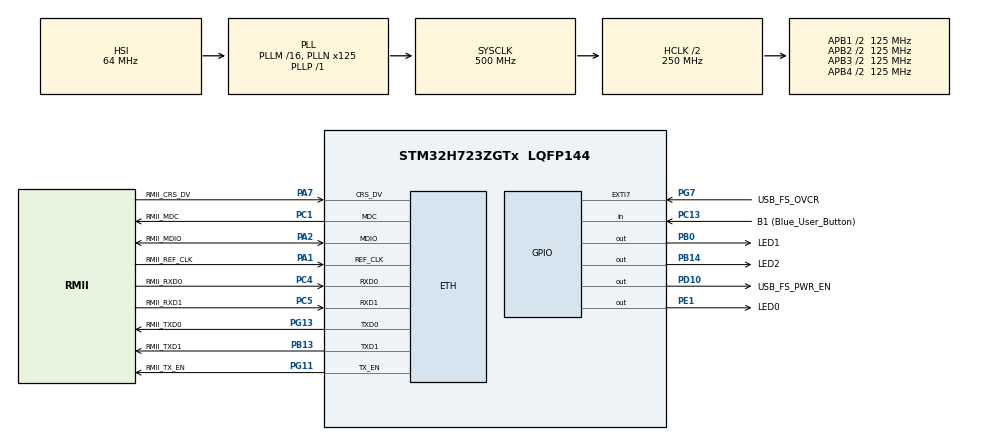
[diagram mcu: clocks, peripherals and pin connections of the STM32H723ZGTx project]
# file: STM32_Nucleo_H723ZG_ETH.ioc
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CORTEX_M7.AccessPermission_S-Cortex_Memory_Protection_Unit_Region1_Settings_S=MPU_REGION_FULL_ACCESS
CORTEX_M7.AccessPermission_S-Cortex_Memory_Protection_Unit_Region2_Settings_S=MPU_REGION_FULL_ACCESS
CORTEX_M7.BaseAddress_S-Cortex_Memory_Protection_Unit_Region1_Settings_S=0x30000000
CORTEX_M7.BaseAddress_S-Cortex_Memory_Protection_Unit_Region2_Settings_S=0x30000000
CORTEX_M7.CPU_DCache=Enabled
CORTEX_M7.CPU_ICache=Enabled
CORTEX_M7.DisableExec_S-Cortex_Memory_Protection_Unit_Region1_Settings_S=MPU_INSTRUCTION_ACCESS_DISABLE
CORTEX_M7.DisableExec_S-Cortex_Memory_Protection_Unit_Region2_Settings_S=MPU_INSTRUCTION_ACCESS_DISABLE
CORTEX_M7.Enable_S-Cortex_Memory_Protection_Unit_Region1_Settings_S=MPU_REGION_ENABLE
CORTEX_M7.Enable_S-Cortex_Memory_Protection_Unit_Region2_Settings_S=MPU_REGION_ENABLE
CORTEX_M7.IsBufferable_S-Cortex_Memory_Protection_Unit_Region2_Settings_S=MPU_ACCESS_BUFFERABLE
CORTEX_M7.IsShareable_S-Cortex_Memory_Protection_Unit_Region2_Settings_S=MPU_ACCESS_SHAREABLE
CORTEX_M7.Size_S-Cortex_Memory_Protection_Unit_Region1_Settings_S=MPU_REGION_SIZE_32KB
CORTEX_M7.Size_S-Cortex_Memory_Protection_Unit_Region2_Settings_S=MPU_REGION_SIZE_512B
CORTEX_M7.TypeExtField_S-Cortex_Memory_Protection_Unit_Region1_Settings_S=MPU_TEX_LEVEL1
CORTEX_M7.default_mode_Activation=1
ETH.MediaInterface=HAL_ETH_RMII_MODE
ETH.RxBuffAddress=0x30000200
ETH.RxBuffLen=1536
ETH.TxDescAddress=0x30000100
FREERTOS.HEAP_NUMBER=4
FREERTOS.Tasks01=tcpTask,1,512,StartTCPTask,Default,NULL,Dynamic,NULL,NULL;HeartbeatTask,-1,256,StartHeartbeatTask,Default,NULL,Dynamic,NULL,NULL;rxMessages,-3,256,StartRXMessages,Default,NULL,Dynamic,NULL,NULL
FREERTOS.configMAX_PRIORITIES=16
FREERTOS.configTOTAL_HEAP_SIZE=25600
FREERTOS.configUSE_COUNTING_SEMAPHORES=1
FREERTOS.configUSE_NEWLIB_REENTRANT=1
LWIP.BSP.number=1
LWIP.IP_ADDRESS=192.168.050.010
LWIP.LWIP_DHCP=0
LWIP.LWIP_RAM_HEAP_POINTER=0x30000200
LWIP.MEM_SIZE=32232
LWIP.NETMASK_ADDRESS=255.255.255.000
LWIP.PBUF_POOL_BUFSIZE=592
LWIP.Version=v2.1.2_Cube
LWIP0.BSP.STBoard=false
LWIP0.BSP.api=BSP_COMPONENT_DRIVER
LWIP0.BSP.component=LAN8742
LWIP0.BSP.instance=LAN8742
LWIP0.BSP.name=Driver_PHY
LWIP0.BSP.semaphore=S_LAN8742
LWIP0.BSP.solution=LAN8742
Mcu.Family=STM32H7
Mcu.Name=STM32H723ZGTx
Mcu.Package=LQFP144
NVIC.ETH_IRQn=true\:5\:0\:false\:false\:true\:true\:true\:true\:true
NVIC.PriorityGroup=NVIC_PRIORITYGROUP_4
NVIC.TIM6_DAC_IRQn=true\:15\:0\:false\:false\:true\:false\:false\:true\:true
NVIC.TimeBase=TIM6_DAC_IRQn
NVIC.TimeBaseIP=TIM6
PA1.GPIO_Label=RMII_REF_CLK
PA1.GPIO_Speed=GPIO_SPEED_FREQ_VERY_HIGH
PA1.Mode=RMII
PA1.Signal=ETH_REF_CLK
PA10.GPIO_Label=USB_FS_ID
PA10.Signal=USB_OTG_HS_ID
PA13(JTMS/SWDIO).GPIO_Label=SWDIO
PA13(JTMS/SWDIO).Signal=DEBUG_JTMS-SWDIO
PA14(JTCK/SWCLK).GPIO_Label=SWCLK
PA14(JTCK/SWCLK).Signal=DEBUG_JTCK-SWCLK
PA2.GPIO_Label=RMII_MDIO
PA2.GPIO_Speed=GPIO_SPEED_FREQ_VERY_HIGH
PA2.Mode=RMII
PA2.Signal=ETH_MDIO
PA7.GPIO_Label=RMII_CRS_DV
PA7.GPIO_Speed=GPIO_SPEED_FREQ_VERY_HIGH
PA7.Mode=RMII
PA7.Signal=ETH_CRS_DV
PA9.GPIO_Label=USB_FS_VBUS
PA9.Signal=USB_OTG_HS_VBUS
PB0.GPIO_Label=LED1
PB0.Signal=GPIO_Output
PB13.GPIO_Label=RMII_TXD1
PB13.GPIO_Speed=GPIO_SPEED_FREQ_VERY_HIGH
PB13.Mode=RMII
PB13.Signal=ETH_TXD1
PB14.GPIO_Label=LED2
PB14.Signal=GPIO_Output
PB3(JTDO/TRACESWO).GPIO_Label=SWO
PB3(JTDO/TRACESWO).Signal=DEBUG_JTDO-SWO
PC1.GPIO_Label=RMII_MDC
PC1.GPIO_Speed=GPIO_SPEED_FREQ_VERY_HIGH
PC1.Mode=RMII
PC1.Signal=ETH_MDC
PC13.GPIO_Label=B1 (Blue_User_Button)
PC13.Signal=GPIO_Input
PC14-OSC32_IN.Signal=RCC_OSC32_IN
PC15-OSC32_OUT.Signal=RCC_OSC32_OUT
PC4.GPIO_Label=RMII_RXD0
PC4.GPIO_Speed=GPIO_SPEED_FREQ_VERY_HIGH
PC4.Mode=RMII
PC4.Signal=ETH_RXD0
PC5.GPIO_Label=RMII_RXD1
PC5.GPIO_Speed=GPIO_SPEED_FREQ_VERY_HIGH
PC5.Mode=RMII
PC5.Signal=ETH_RXD1
PD10.GPIO_Label=USB_FS_PWR_EN
PD10.Signal=GPIO_Output
PD8.GPIO_Label=STLK_VCP_RX
PD8.Signal=USART3_TX
PD9.GPIO_Label=STLK_VCP_TX
PD9.Signal=USART3_RX
PE1.GPIO_Label=LED0
PE1.Signal=GPIO_Output
PG11.GPIO_Label=RMII_TX_EN
PG11.GPIO_Speed=GPIO_SPEED_FREQ_VERY_HIGH
PG11.Mode=RMII
PG11.Signal=ETH_TX_EN
PG13.GPIO_Label=RMII_TXD0
PG13.GPIO_Speed=GPIO_SPEED_FREQ_VERY_HIGH
PG13.Mode=RMII
PG13.Signal=ETH_TXD0
PG7.GPIO_Label=USB_FS_OVCR
PG7.Signal=GPXTI7
PH0-OSC_IN.GPIO_Label=MCO
PH0-OSC_IN.Signal=RCC_OSC_IN
PH1-OSC_OUT.Signal=RCC_OSC_OUT
ProjectManager.HeapSize=0x200
ProjectManager.StackSize=0x400
ProjectManager.TargetToolchain=STM32CubeIDE
RCC.ADCFreq_Value=608000000
RCC.APB1Freq_Value=125000000
RCC.APB2Freq_Value=125000000
RCC.APB3Freq_Value=125000000
RCC.APB4Freq_Value=125000000
RCC.CortexFreq_Value=500000000
RCC.D1PPRE=RCC_APB3_DIV2
RCC.D2PPRE1=RCC_APB1_DIV2
RCC.D2PPRE2=RCC_APB2_DIV2
RCC.D3PPRE=RCC_APB4_DIV2
RCC.DIVM1=16
RCC.DIVM2=1
RCC.DIVN1=125
RCC.DIVN2=19
RCC.DIVP1=1
RCC.DIVQ1=4
RCC.HCLKFreq_Value=250000000
RCC.HPRE=RCC_HCLK_DIV2
RCC.HSE_VALUE=8000000
RCC.PLLFRACN=0
RCC.SYSCLKFreq_VALUE=500000000
RCC.SYSCLKSource=RCC_SYSCLKSOURCE_PLLCLK
RCC.USBCLockSelection=RCC_USBCLKSOURCE_HSI48
RCC.USBFreq_Value=48000000
VP_FREERTOS_VS_CMSIS_V1.Mode=CMSIS_V1
VP_LWIP_VS_Enabled.Mode=Enabled
VP_RTC_VS_RTC_Activate.Mode=RTC_Enabled
VP_SYS_VS_tim6.Mode=TIM6
board=NUCLEO-H723ZG

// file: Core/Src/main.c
/* USER CODE BEGIN Header */
/**
  ******************************************************************************
  * @file           : main.c
  * @brief          : Main program body
  ******************************************************************************
  * @attention
  *
  * Copyright (c) 2022 STMicroelectronics.
  * All rights reserved.
  *
  * This software is licensed under terms that can be found in the LICENSE file
  * in the root directory of this software component.
  * If no LICENSE file comes with this software, it is provided AS-IS.
  *
  ******************************************************************************
  */
/* USER CODE END Header */
#include "main.h"
#include "cmsis_os.h"
#include "lwip.h"

/* USER CODE BEGIN Includes */
/* ETH_CODE: add lwiperf, see comment in StartDefaultTask function */
#include "lwip/apps/lwiperf.h"
#include "C:\Users\Jack\Projects\MASA\dev-drivers\Rocket-Avionics\drivers\tcp\inc\tcpserver.h"
#include "C:\Users\Jack\Projects\MASA\dev-drivers\Rocket-Avionics\drivers\tcp\inc\tsqueue.h"
#include "C:\Users\Jack\Projects\MASA\dev-drivers\Rocket-Avionics\drivers\tcp\inc\tcppacket.h"
/* USER CODE END Includes */

RTC_HandleTypeDef hrtc;

osThreadId tcpTaskHandle;
osThreadId HeartbeatTaskHandle;
osThreadId rxMessagesHandle;

void SystemClock_Config(void);
static void MPU_Initialize(void);
static void MPU_Config(void);
static void MX_GPIO_Init(void);
static void MX_RTC_Init(void);
void StartTCPTask(void const * argument);
void StartHeartbeatTask(void const * argument);
void StartRXMessages(void const * argument);

int main(void)
{

  /* Enable I-Cache---------------------------------------------------------*/
  SCB_EnableICache();

  /* Enable D-Cache---------------------------------------------------------*/
  SCB_EnableDCache();

  /* MCU Configuration--------------------------------------------------------*/

  /* Reset of all peripherals, Initializes the Flash interface and the Systick. */
  HAL_Init();

  /* MPU Configuration--------------------------------------------------------*/
  MPU_Config();

  /* Configure the system clock */
  SystemClock_Config();

  /* Initialize all configured peripherals */
  MX_GPIO_Init();
  MX_RTC_Init();

  /* Create the thread(s) */
  /* definition and creation of tcpTask */
  osThreadDef(tcpTask, StartTCPTask, osPriorityAboveNormal, 0, 512);
  tcpTaskHandle = osThreadCreate(osThread(tcpTask), NULL);

  /* definition and creation of HeartbeatTask */
  osThreadDef(HeartbeatTask, StartHeartbeatTask, osPriorityBelowNormal, 0, 256);
  HeartbeatTaskHandle = osThreadCreate(osThread(HeartbeatTask), NULL);

  /* definition and creation of rxMessages */
  osThreadDef(rxMessages, StartRXMessages, osPriorityIdle, 0, 256);
  rxMessagesHandle = osThreadCreate(osThread(rxMessages), NULL);

  /* Start scheduler */
  osKernelStart();

  /* We should never get here as control is now taken by the scheduler */
  /* Infinite loop */
  while (1)
  {

  }
}

void SystemClock_Config(void)
{
  RCC_OscInitTypeDef RCC_OscInitStruct = {0};
  RCC_ClkInitTypeDef RCC_ClkInitStruct = {0};

  /** Supply configuration update enable
  */
  HAL_PWREx_ConfigSupply(PWR_LDO_SUPPLY);

  /** Configure the main internal regulator output voltage
  */
  __HAL_PWR_VOLTAGESCALING_CONFIG(PWR_REGULATOR_VOLTAGE_SCALE0);

  while(!__HAL_PWR_GET_FLAG(PWR_FLAG_VOSRDY)) {}

  /** Initializes the RCC Oscillators according to the specified parameters
  * in the RCC_OscInitTypeDef structure.
  */
  RCC_OscInitStruct.OscillatorType = RCC_OSCILLATORTYPE_HSI|RCC_OSCILLATORTYPE_LSI;
  RCC_OscInitStruct.HSIState = RCC_HSI_DIV1;
  RCC_OscInitStruct.HSICalibrationValue = 64;
  RCC_OscInitStruct.LSIState = RCC_LSI_ON;
  RCC_OscInitStruct.PLL.PLLState = RCC_PLL_ON;
  RCC_OscInitStruct.PLL.PLLSource = RCC_PLLSOURCE_HSI;
  RCC_OscInitStruct.PLL.PLLM = 16;
  RCC_OscInitStruct.PLL.PLLN = 125;
  RCC_OscInitStruct.PLL.PLLP = 1;
  RCC_OscInitStruct.PLL.PLLQ = 4;
  RCC_OscInitStruct.PLL.PLLR = 2;
  RCC_OscInitStruct.PLL.PLLRGE = RCC_PLL1VCIRANGE_2;
  RCC_OscInitStruct.PLL.PLLVCOSEL = RCC_PLL1VCOWIDE;
  RCC_OscInitStruct.PLL.PLLFRACN = 0;
  if (HAL_RCC_OscConfig(&RCC_OscInitStruct) != HAL_OK)
  {
    Error_Handler();
  }

  /** Initializes the CPU, AHB and APB buses clocks
  */
  RCC_ClkInitStruct.ClockType = RCC_CLOCKTYPE_HCLK|RCC_CLOCKTYPE_SYSCLK
                              |RCC_CLOCKTYPE_PCLK1|RCC_CLOCKTYPE_PCLK2
                              |RCC_CLOCKTYPE_D3PCLK1|RCC_CLOCKTYPE_D1PCLK1;
  RCC_ClkInitStruct.SYSCLKSource = RCC_SYSCLKSOURCE_PLLCLK;
  RCC_ClkInitStruct.SYSCLKDivider = RCC_SYSCLK_DIV1;
  RCC_ClkInitStruct.AHBCLKDivider = RCC_HCLK_DIV2;
  RCC_ClkInitStruct.APB3CLKDivider = RCC_APB3_DIV2;
  RCC_ClkInitStruct.APB1CLKDivider = RCC_APB1_DIV2;
  RCC_ClkInitStruct.APB2CLKDivider = RCC_APB2_DIV2;
  RCC_ClkInitStruct.APB4CLKDivider = RCC_APB4_DIV2;

  if (HAL_RCC_ClockConfig(&RCC_ClkInitStruct, FLASH_LATENCY_3) != HAL_OK)
  {
    Error_Handler();
  }
}

static void MX_RTC_Init(void)
{

  /** Initialize RTC Only
  */
  hrtc.Instance = RTC;
  hrtc.Init.HourFormat = RTC_HOURFORMAT_24;
  hrtc.Init.AsynchPrediv = 127;
  hrtc.Init.SynchPrediv = 255;
  hrtc.Init.OutPut = RTC_OUTPUT_DISABLE;
  hrtc.Init.OutPutPolarity = RTC_OUTPUT_POLARITY_HIGH;
  hrtc.Init.OutPutType = RTC_OUTPUT_TYPE_OPENDRAIN;
  hrtc.Init.OutPutRemap = RTC_OUTPUT_REMAP_NONE;
  if (HAL_RTC_Init(&hrtc) != HAL_OK)
  {
    Error_Handler();
  }

}

static void MX_GPIO_Init(void)
{
  GPIO_InitTypeDef GPIO_InitStruct = {0};

  /* GPIO Ports Clock Enable */
  __HAL_RCC_GPIOC_CLK_ENABLE();
  __HAL_RCC_GPIOH_CLK_ENABLE();
  __HAL_RCC_GPIOA_CLK_ENABLE();
  __HAL_RCC_GPIOB_CLK_ENABLE();
  __HAL_RCC_GPIOD_CLK_ENABLE();
  __HAL_RCC_GPIOG_CLK_ENABLE();
  __HAL_RCC_GPIOE_CLK_ENABLE();

  /*Configure GPIO pin Output Level */
  HAL_GPIO_WritePin(GPIOB, LED1_Pin|LED2_Pin, GPIO_PIN_RESET);

  /*Configure GPIO pin Output Level */
  HAL_GPIO_WritePin(USB_FS_PWR_EN_GPIO_Port, USB_FS_PWR_EN_Pin, GPIO_PIN_RESET);

  /*Configure GPIO pin Output Level */
  HAL_GPIO_WritePin(LED0_GPIO_Port, LED0_Pin, GPIO_PIN_RESET);

  /*Configure GPIO pin : B1_Pin */
  GPIO_InitStruct.Pin = B1_Pin;
  GPIO_InitStruct.Mode = GPIO_MODE_INPUT;
  GPIO_InitStruct.Pull = GPIO_NOPULL;
  HAL_GPIO_Init(B1_GPIO_Port, &GPIO_InitStruct);

  /*Configure GPIO pins : LED1_Pin LED2_Pin */
  GPIO_InitStruct.Pin = LED1_Pin|LED2_Pin;
  GPIO_InitStruct.Mode = GPIO_MODE_OUTPUT_PP;
  GPIO_InitStruct.Pull = GPIO_NOPULL;
  GPIO_InitStruct.Speed = GPIO_SPEED_FREQ_LOW;
  HAL_GPIO_Init(GPIOB, &GPIO_InitStruct);

  /*Configure GPIO pins : STLK_VCP_RX_Pin STLK_VCP_TX_Pin */
  GPIO_InitStruct.Pin = STLK_VCP_RX_Pin|STLK_VCP_TX_Pin;
  GPIO_InitStruct.Mode = GPIO_MODE_AF_PP;
  GPIO_InitStruct.Pull = GPIO_NOPULL;
  GPIO_InitStruct.Speed = GPIO_SPEED_FREQ_LOW;
  GPIO_InitStruct.Alternate = GPIO_AF7_USART3;
  HAL_GPIO_Init(GPIOD, &GPIO_InitStruct);

  /*Configure GPIO pin : USB_FS_PWR_EN_Pin */
  GPIO_InitStruct.Pin = USB_FS_PWR_EN_Pin;
  GPIO_InitStruct.Mode = GPIO_MODE_OUTPUT_PP;
  GPIO_InitStruct.Pull = GPIO_NOPULL;
  GPIO_InitStruct.Speed = GPIO_SPEED_FREQ_LOW;
  HAL_GPIO_Init(USB_FS_PWR_EN_GPIO_Port, &GPIO_InitStruct);

  /*Configure GPIO pin : USB_FS_OVCR_Pin */
  GPIO_InitStruct.Pin = USB_FS_OVCR_Pin;
  GPIO_InitStruct.Mode = GPIO_MODE_IT_RISING;
  GPIO_InitStruct.Pull = GPIO_NOPULL;
  HAL_GPIO_Init(USB_FS_OVCR_GPIO_Port, &GPIO_InitStruct);

  /*Configure GPIO pin : USB_FS_ID_Pin */
  GPIO_InitStruct.Pin = USB_FS_ID_Pin;
  GPIO_InitStruct.Mode = GPIO_MODE_AF_PP;
  GPIO_InitStruct.Pull = GPIO_NOPULL;
  GPIO_InitStruct.Speed = GPIO_SPEED_FREQ_LOW;
  GPIO_InitStruct.Alternate = GPIO_AF10_OTG1_HS;
  HAL_GPIO_Init(USB_FS_ID_GPIO_Port, &GPIO_InitStruct);

  /*Configure GPIO pin : LED0_Pin */
  GPIO_InitStruct.Pin = LED0_Pin;
  GPIO_InitStruct.Mode = GPIO_MODE_OUTPUT_PP;
  GPIO_InitStruct.Pull = GPIO_NOPULL;
  GPIO_InitStruct.Speed = GPIO_SPEED_FREQ_LOW;
  HAL_GPIO_Init(LED0_GPIO_Port, &GPIO_InitStruct);

}

/* USER CODE BEGIN 4 */
void fsm_transition(int transition) {
	// use your imagination
};

void sw_reset(void) {

};

void set_bootloader(void) {

};

void get_git_hash(void) {

};

void valve_control(uint32_t valve, uint32_t state) {
	HAL_GPIO_TogglePin(LED2_GPIO_Port, LED2_Pin);
	// doing this for debug
};

void config_calibration(uint64_t* calibration_data) {

};
/* USER CODE END 4 */

void StartTCPTask(void const * argument)
{
  /* init code for LWIP */
  MX_LWIP_Init();
  /* USER CODE BEGIN 5 */

  server_init();
	for (;;) {
		osDelay(1);
	}

  /* USER CODE END 5 */
}

void StartHeartbeatTask(void const * argument)
{
  /* USER CODE BEGIN StartHeartbeatTask */
  // Infinite loop

  for(;;)
  {
	  // Heartbeat LED0
	  HAL_GPIO_TogglePin(LED0_GPIO_Port, LED0_Pin);

	  char* msg = malloc(12);
	  memcpy(msg, "heartbeat\r\n", 12);

	  server_sendMsg(ALL_CONNECTIONS,  msg, 12);

	  osDelay(500);

  }

  /* USER CODE END StartHeartbeatTask */
}

void StartRXMessages(void const * argument)
{
  /* USER CODE BEGIN StartRXMessages */
	char buf[MAX_MSG_LEN];
  // Infinite loop
  for(;;)
  {
	struct message msg = {-1, buf, MAX_MSG_LEN};
	server_retrieveMsg(&msg);
	// Ideally, server_retrieveMsg should give a packet type and a separate connection fd but that's a massive can of worms
	// Instead we're going to make a packet type from a different packet type so it works with my code :)
	struct packet rx_packet;
	struct packet tx_packet;

	rx_packet.packet = msg.buf;
	rx_packet.packet_len = msg.len;
	rx_tcppacket_parse(&rx_packet, &tx_packet);

	/*
	if (tx_packet.len > 0) {
		server_sendMsg(msg.connfd, tx_packet.packet, tx_packet.len);
	}
	*/
	osDelay(1);
  }

  /* USER CODE END StartRXMessages */
}

/* MPU Configuration */

void MPU_Config(void)
{
  MPU_Region_InitTypeDef MPU_InitStruct = {0};

  /* Disables the MPU */
  HAL_MPU_Disable();

  /** Initializes and configures the Region and the memory to be protected
  */
  MPU_InitStruct.Enable = MPU_REGION_ENABLE;
  MPU_InitStruct.Number = MPU_REGION_NUMBER0;
  MPU_InitStruct.BaseAddress = 0x0;
  MPU_InitStruct.Size = MPU_REGION_SIZE_4GB;
  MPU_InitStruct.SubRegionDisable = 0x87;
  MPU_InitStruct.TypeExtField = MPU_TEX_LEVEL0;
  MPU_InitStruct.AccessPermission = MPU_REGION_NO_ACCESS;
  MPU_InitStruct.DisableExec = MPU_INSTRUCTION_ACCESS_DISABLE;
  MPU_InitStruct.IsShareable = MPU_ACCESS_SHAREABLE;
  MPU_InitStruct.IsCacheable = MPU_ACCESS_NOT_CACHEABLE;
  MPU_InitStruct.IsBufferable = MPU_ACCESS_NOT_BUFFERABLE;

  HAL_MPU_ConfigRegion(&MPU_InitStruct);

  /** Initializes and configures the Region and the memory to be protected
  */
  MPU_InitStruct.Number = MPU_REGION_NUMBER1;
  MPU_InitStruct.BaseAddress = 0x30000000;
  MPU_InitStruct.Size = MPU_REGION_SIZE_32KB;
  MPU_InitStruct.SubRegionDisable = 0x0;
  MPU_InitStruct.TypeExtField = MPU_TEX_LEVEL1;
  MPU_InitStruct.AccessPermission = MPU_REGION_FULL_ACCESS;
  MPU_InitStruct.IsShareable = MPU_ACCESS_NOT_SHAREABLE;

  HAL_MPU_ConfigRegion(&MPU_InitStruct);

  /** Initializes and configures the Region and the memory to be protected
  */
  MPU_InitStruct.Number = MPU_REGION_NUMBER2;
  MPU_InitStruct.Size = MPU_REGION_SIZE_512B;
  MPU_InitStruct.TypeExtField = MPU_TEX_LEVEL0;
  MPU_InitStruct.IsShareable = MPU_ACCESS_SHAREABLE;
  MPU_InitStruct.IsBufferable = MPU_ACCESS_BUFFERABLE;

  HAL_MPU_ConfigRegion(&MPU_InitStruct);
  /* Enables the MPU */
  HAL_MPU_Enable(MPU_PRIVILEGED_DEFAULT);

}

void HAL_TIM_PeriodElapsedCallback(TIM_HandleTypeDef *htim)
{
  if (htim->Instance == TIM6) {
    HAL_IncTick();
  }
}

void Error_Handler(void)
{
  __disable_irq();
  while (1)
  {
  }
}
